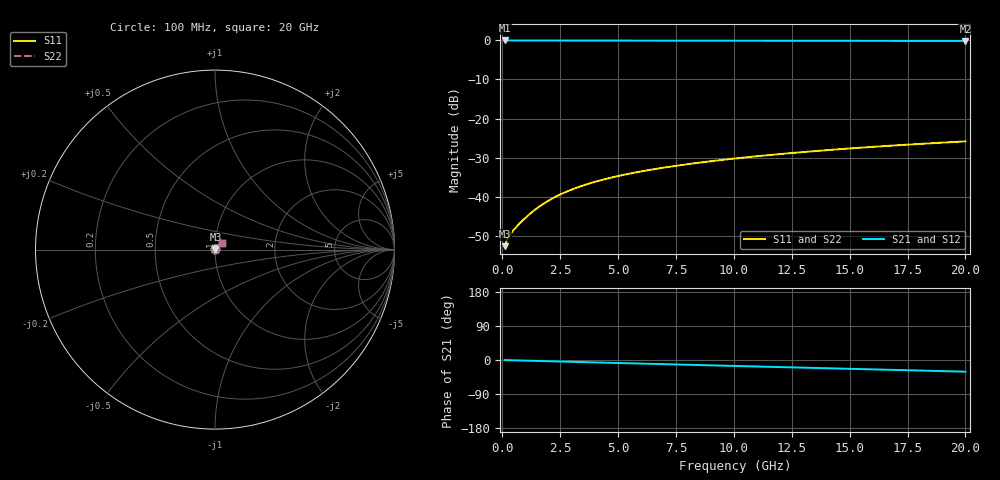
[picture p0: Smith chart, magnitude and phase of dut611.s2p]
! Touchstone file exported from HFSS 2026.1.0
!  File:  C:/ffzhzh/LocalFiles/Ansys_Project_Files/temp_train_BSMRDL_611_1783016247_46388.aedt
!  Generated:  02:18:43 AM Jul  3, 2026
!  Design:  BSMRDL
!  Project:  temp_train_BSMRDL_611_1783016247_46388
! Variables:
!  h_bsmrdl = 5.41um
!  h_ox = 20um
!  h_rdl = 5um
!  h_sub = 80um
!  h_tmrdl = 5um
!  h_tsv = 80um
!  h_via = 3um
!  l_bsmrdl = 552.99um
!  l_sub = 952.99um
!  l_tmrdl = 200um
!  m_sub = 200um
!  pitch = 24.29um
!  r_tsv = 6um
!  s_tmrdl = 10um
!  w_bsmrdl = 18.15um
!  w_sub = 500um
!  w_tmrdl = 12um
!  x_tsv_center1 = 206um
!  x_tsv_center2 = 777.14um
!  x_tsv_center3 = 989.14um
!  x_tsv_center4 = 1560.28um
!  x_tsv_center5 = 1772.28um
!  x_tsv_center6 = 2343.42um
# GHz S MA R 50.000000
! Terminal data exported
! Port[1] = BSM_RDL1_1_T1
! Port[2] = BSM_RDL1_1_T2
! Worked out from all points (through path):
!   200 points, 100 MHz to 20 GHz, reference 50 ohm
!   highest |S21| = -0.02 dB at 100 MHz (marker M1); lowest = -0.1 dB at 20 GHz (marker M2)
!   group delay of S21, straight-line fit = 4.26 ps
!   lowest |S11| = -52.7 dB at 100 MHz (marker M3), VSWR 1.00, Z = 50.2 + j0.0753 ohm
!   |S11| at or under -10 dB: start of sweep to end of sweep
!   |S22| runs from -52.7 to -25.8 dB; largest |S21 - S12| = 1.1e-14
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0.1  0.00233 18.8  0.9978 -0.2  0.9978 -0.2  0.00233 18.8
! Gamma 0 0 0 0
! Port Impedance 50 0 50 0
0.2  0.002787 27.4  0.9975 -0.4  0.9975 -0.4  0.002789 27.5
0.3  0.003169 32.0  0.9973 -0.5  0.9973 -0.5  0.003177 32.1
0.4  0.00349 35.6  0.9971 -0.7  0.9971 -0.7  0.003502 35.7
0.5  0.003789 38.9  0.997 -0.8  0.997 -0.8  0.003803 38.9
0.9  0.005036 49.3  0.9967 -1.5  0.9967 -1.5  0.005046 49.2
1.1  0.005713 52.8  0.9966 -1.8  0.9966 -1.8  0.00572 52.6
1.4  0.006767 56.3  0.9964 -2.3  0.9964 -2.3  0.00677 56.2
1.8  0.0082 59.1  0.996 -2.9  0.996 -2.9  0.008198 59.0
2.3  0.009972 60.7  0.9956 -3.7  0.9956 -3.7  0.009969 60.6
2.9  0.01202 61.3  0.995 -4.7  0.995 -4.7  0.01202 61.2
3.5  0.01396 61.2  0.9944 -5.6  0.9944 -5.6  0.01397 61.1
4.2  0.0161 60.7  0.9937 -6.7  0.9937 -6.7  0.01611 60.6
4.9  0.01811 60.0  0.993 -7.8  0.993 -7.8  0.01812 59.9
5.8  0.02056 59.0  0.9921 -9.2  0.9921 -9.2  0.02057 58.9
6.8  0.02313 58.0  0.9913 -10.7  0.9913 -10.7  0.02315 57.9
8.3  0.02679 56.4  0.9902 -13.0  0.9902 -13.0  0.02682 56.3
10.1  0.03095 54.5  0.989 -15.8  0.989 -15.8  0.03099 54.3
11.7  0.0345 52.8  0.988 -18.2  0.988 -18.2  0.03455 52.5
13.4  0.03813 50.9  0.987 -20.8  0.987 -20.8  0.0382 50.6
16.7  0.04482 47.0  0.9853 -25.8  0.9853 -25.8  0.04492 46.6
20  0.05101 42.9  0.9837 -30.8  0.9837 -30.8  0.05116 42.4
